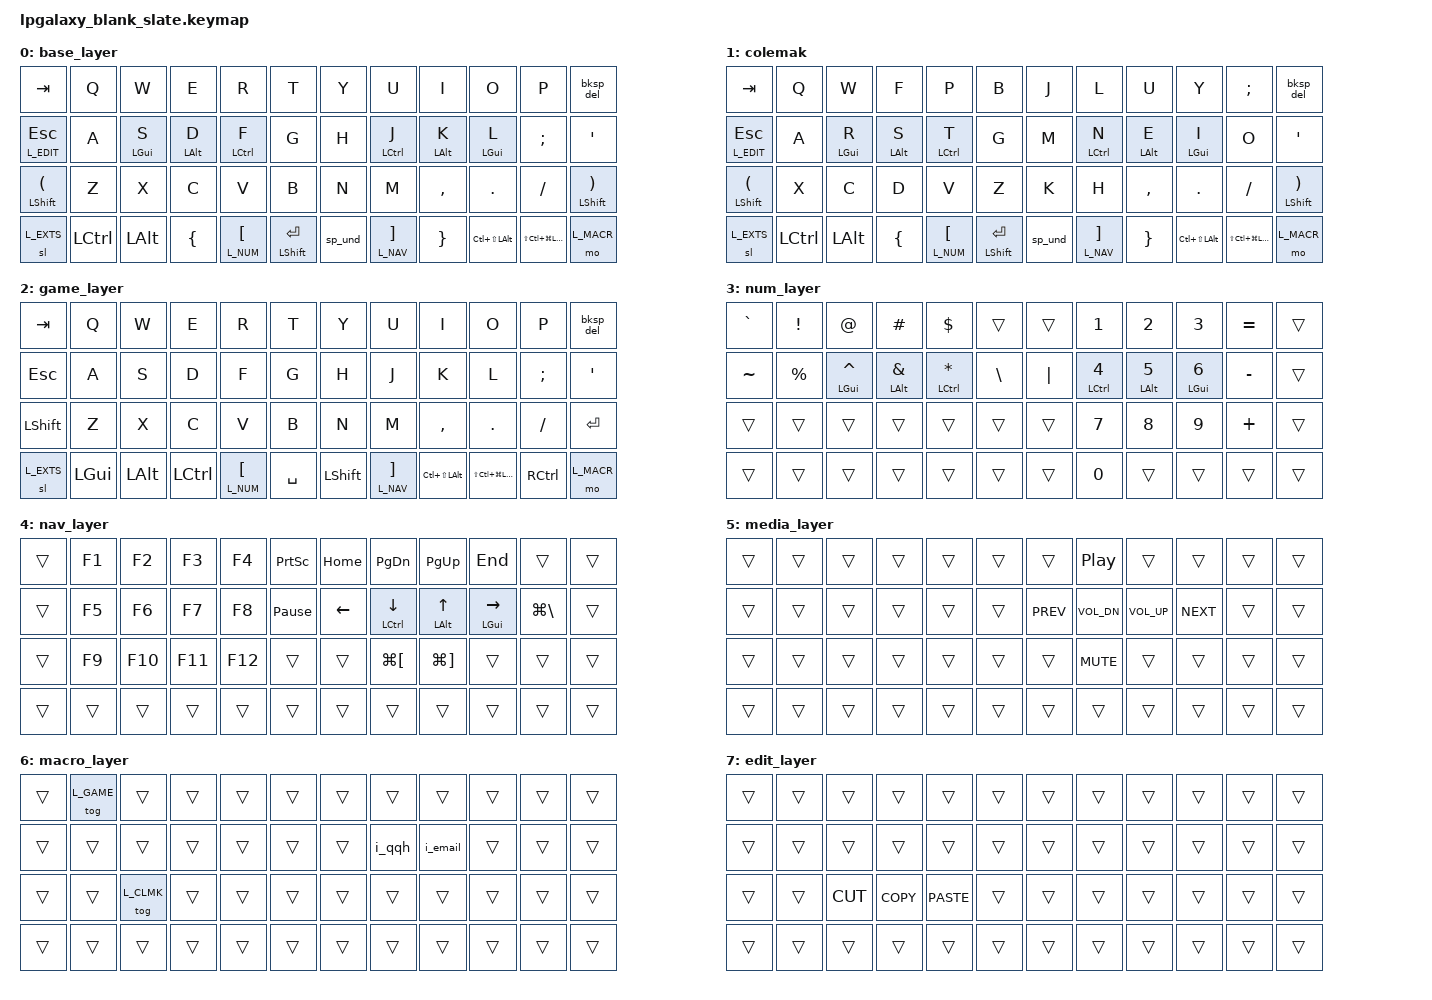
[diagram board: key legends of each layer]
/*
 * Copyright (c) 2022 Pete Johanson
 *
 * SPDX-License-Identifier: MIT
 */

#include <behaviors.dtsi>
#include <dt-bindings/zmk/keys.h>

#define MEH LC(LS(LALT))
#define HYPER LS(LC(LG(LALT)))
#define SHFT LSHFT
#define CTRL LCTRL

#define CART CARET
#define PRINT PRINTSCREEN
#define PAUSE PAUSE_BREAK

#define L_BASE 0
#define L_CLMK 1
#define L_GAME 2
#define L_NUM 3
#define L_NAV 4
#define L_EXTS 5
#define L_MACR 6
#define L_EDIT 7

&sl {
    release-after-ms = <2000>;
};

&key_repeat {
    usage-pages = <HID_USAGE_KEY HID_USAGE_CONSUMER>;
};

&lt {
    flavor = "hold-preferred";
};

/ {
    macros {
        i_email: insert_email {
            compatible = "zmk,behavior-macro";
            #binding-cells = <0>;
            wait-ms = <10>;
            bindings = <&kp S &kp A &kp H &kp A &kp N &kp A &kp T &kp A &kp N &kp K &kp A &kp L &kp A &kp AT &kp G &kp M &kp A &kp I &kp L &kp DOT &kp C &kp O &kp M>;
        };

        i_qqh: insert_quackquackhonk {
            compatible = "zmk,behavior-macro";
            #binding-cells = <0>;
            wait-ms = <10>;
            bindings = <&kp Q &kp U &kp A &kp C &kp K &kp Q &kp U &kp A &kp C &kp K &kp H &kp O &kp N &kp K>;
            label = "I_GITHUB";
        };
    };
    behaviors {
        // Shift + Backspace for Delete (mod-morph)
        bksp_del: bksp_del {
            compatible = "zmk,behavior-mod-morph";
            #binding-cells = <0>;
            bindings = <&kp BACKSPACE>, <&kp DELETE>;
            mods = <(MOD_LSFT)>;
        };
        // Shift + Space = Underscore
        sp_und: space_underscore {
            compatible = "zmk,behavior-mod-morph";
            #binding-cells = <0>;
            bindings = <&kp SPACE>, <&kp UNDERSCORE>;
            mods = <(MOD_LSFT)>;
            keep-mods = <(MOD_LSFT)>;
        };
        // homerow mods
        hm: homerow_mods {
            compatible = "zmk,behavior-hold-tap";
            #binding-cells = <2>;
            tapping-term-ms = <200>;
            quick-tap-ms = <100>;
            require-prior-idle-ms = <150>;
            flavor = "balanced";
            bindings = <&kp>, <&kp>;
        };
    };

    keymap {
        compatible = "zmk,keymap";

        base_layer {
            bindings = <
&kp TAB        &kp Q         &kp W         &kp E         &kp R          &kp T          &kp Y       &kp U          &kp I         &kp O         &kp P         &bksp_del
&lt L_EDIT ESC &kp A         &hm LGUI S    &hm LALT D    &hm CTRL F     &kp G          &kp H       &hm CTRL J     &hm LALT K    &hm LGUI L    &kp SEMI      &kp SINGLE_QUOTE
&mt SHFT LPAR  &kp Z         &kp X         &kp C         &kp V          &kp B          &kp N       &kp M          &kp COMMA     &kp DOT       &kp SLASH     &mt SHFT RPAR
&sl L_EXTS     &kp LCTRL     &kp LALT      &kp LBRC      &lt L_NUM LBKT &mt SHFT ENTER &sp_und     &lt L_NAV RBKT &kp RBRC      &kp MEH       &kp HYPER     &mo L_MACR
            >;
        };

        colemak {
            bindings = <
&kp TAB        &kp Q         &kp W         &kp F         &kp P          &kp B          &kp J       &kp L          &kp U         &kp Y         &kp SEMI      &bksp_del
&lt L_EDIT ESC &kp A         &hm LGUI R    &hm LALT S    &hm CTRL T     &kp G          &kp M       &hm CTRL N     &hm LALT E    &hm LGUI I    &kp O         &kp SINGLE_QUOTE
&mt SHFT LPAR  &kp X         &kp C         &kp D         &kp V          &kp Z          &kp K       &kp H          &kp COMMA     &kp DOT       &kp SLASH     &mt SHFT RPAR
&sl L_EXTS     &kp LCTRL     &kp LALT      &kp LBRC      &lt L_NUM LBKT &mt SHFT ENTER &sp_und     &lt L_NAV RBKT &kp RBRC      &kp MEH       &kp HYPER     &mo L_MACR
            >;
        };

        game_layer {
            bindings = <
&kp TAB       &kp Q         &kp W         &kp E         &kp R          &kp T          &kp Y       &kp U          &kp I         &kp O         &kp P         &bksp_del
&kp ESC       &kp A         &kp S         &kp D         &kp F          &kp G          &kp H       &kp J          &kp K         &kp L         &kp SEMI      &kp SINGLE_QUOTE
&kp LSHFT     &kp Z         &kp X         &kp C         &kp V          &kp B          &kp N       &kp M          &kp COMMA     &kp DOT       &kp SLASH     &kp ENTER
&sl L_EXTS    &kp LGUI      &kp LALT      &kp LCTRL     &lt L_NUM LBKT &kp SPACE      &kp LSHFT   &lt L_NAV RBKT &kp MEH       &kp HYPER     &kp RCTRL     &mo L_MACR
            >;
        };

        num_layer {
            bindings = <
&kp GRAVE     &kp EXCL      &kp AT        &kp HASH      &kp DOLLAR    &trans        &trans        &kp N1        &kp N2        &kp N3        &kp EQUAL     &trans
&kp TILDE     &kp PRCNT     &hm LGUI CART &hm LALT AMPS &hm CTRL STAR &kp BSLH      &kp PIPE      &hm CTRL N4   &hm LALT N5   &hm LGUI N6   &kp MINUS     &trans
&trans        &trans        &trans        &trans        &trans        &trans        &trans        &kp N7        &kp N8        &kp N9        &kp PLUS      &trans
&trans        &trans        &trans        &trans        &trans        &trans        &trans        &kp N0        &trans        &trans        &trans        &trans
            >;
        };

        nav_layer {
            bindings = <
&trans        &kp F1        &kp F2        &kp F3        &kp F4        &kp PRINT    &kp HOME       &kp PG_DN    &kp PG_UP      &kp END       &trans        &trans
&trans        &kp F5        &kp F6        &kp F7        &kp F8        &kp PAUSE    &kp LEFT       &hm CTRL DOWN &hm LALT UP   &hm LGUI RIGHT &kp LG(BSLH)  &trans
&trans        &kp F9        &kp F10       &kp F11       &kp F12       &trans       &trans         &kp LG(LBKT) &kp LG(RBKT)   &trans        &trans        &trans
&trans        &trans        &trans        &trans        &trans        &trans       &trans         &trans       &trans         &trans        &trans        &trans
            >;
        };

        // Media Layer
        media_layer {
            bindings = <
&trans        &trans        &trans        &trans        &trans        &trans        &trans        &kp C_PP      &trans        &trans       &trans         &trans
&trans        &trans        &trans        &trans        &trans        &trans        &kp C_PREV    &kp C_VOL_DN  &kp C_VOL_UP  &kp C_NEXT   &trans         &trans
&trans        &trans        &trans        &trans        &trans        &trans        &trans        &kp C_MUTE    &trans        &trans       &trans         &trans
&trans        &trans        &trans        &trans        &trans        &trans        &trans        &trans        &trans        &trans       &trans         &trans
            >;
        };

        // Macro Layer
        macro_layer {
            bindings = <
&trans    &tog L_GAME    &trans    &trans    &trans    &trans    &trans    &trans    &trans    &trans    &trans    &trans
&trans    &trans    &trans    &trans    &trans    &trans    &trans    &i_qqh    &i_email  &trans    &trans    &trans
&trans    &trans    &tog L_CLMK   &trans    &trans    &trans    &trans    &trans    &trans    &trans    &trans    &trans
&trans    &trans    &trans    &trans    &trans    &trans    &trans    &trans    &trans    &trans    &trans    &trans
            >;
        };

        edit_layer {
            bindings = <
&trans        &trans        &trans        &trans        &trans        &trans        &trans        &trans      &trans        &trans       &trans         &trans
&trans        &trans        &trans        &trans        &trans        &trans        &trans        &trans      &trans        &trans       &trans         &trans
&trans        &trans        &kp K_CUT     &kp K_COPY    &kp K_PASTE   &trans        &trans        &trans      &trans        &trans       &trans         &trans
&trans        &trans        &trans        &trans        &trans        &trans        &trans        &trans      &trans        &trans       &trans         &trans
            >;
        };

    };
};

// Example layer
//         EXAMPLE {
//             bindings = <
// &trans        &trans        &trans        &trans        &trans        &trans       &trans         &trans       &trans         &trans        &trans        &trans
// &trans        &trans        &trans        &trans        &trans        &trans       &trans         &trans       &trans         &trans        &trans        &trans
// &trans        &trans        &trans        &trans        &trans        &trans       &trans         &trans       &trans         &trans        &trans        &trans
// &trans        &trans        &trans        &trans        &trans        &trans       &trans         &trans       &trans         &trans        &trans        &trans
//             >;
//         };
